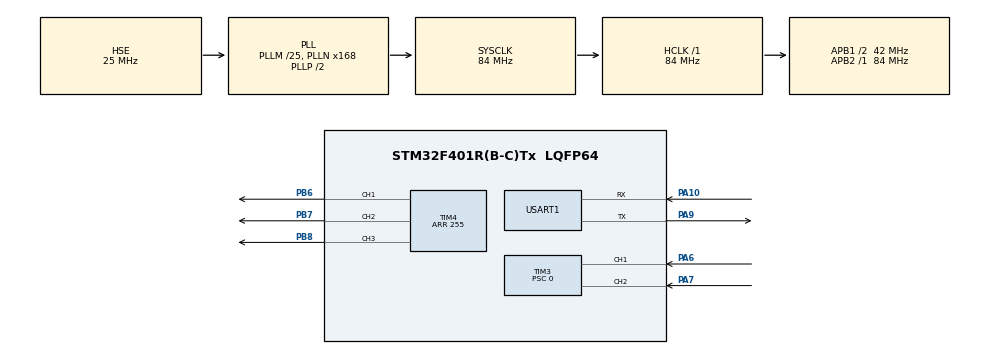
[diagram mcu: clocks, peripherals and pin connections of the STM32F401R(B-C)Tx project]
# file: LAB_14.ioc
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Mcu.Family=STM32F4
Mcu.Name=STM32F401R(B-C)Tx
Mcu.Package=LQFP64
NVIC.PriorityGroup=NVIC_PRIORITYGROUP_4
PA10.Mode=Asynchronous
PA10.Signal=USART1_RX
PA6.Signal=S_TIM3_CH1
PA7.Signal=S_TIM3_CH2
PA9.Mode=Asynchronous
PA9.Signal=USART1_TX
PB6.Signal=S_TIM4_CH1
PB7.Signal=S_TIM4_CH2
PB8.Signal=S_TIM4_CH3
PH0\ -\ OSC_IN.Mode=HSE-External-Oscillator
PH0\ -\ OSC_IN.Signal=RCC_OSC_IN
PH1\ -\ OSC_OUT.Mode=HSE-External-Oscillator
PH1\ -\ OSC_OUT.Signal=RCC_OSC_OUT
ProjectManager.HeapSize=0x200
ProjectManager.StackSize=0x400
ProjectManager.TargetToolchain=STM32CubeIDE
RCC.48MHZClocksFreq_Value=42000000
RCC.AHBFreq_Value=84000000
RCC.APB1CLKDivider=RCC_HCLK_DIV2
RCC.APB1Freq_Value=42000000
RCC.APB1TimFreq_Value=84000000
RCC.APB2Freq_Value=84000000
RCC.APB2TimFreq_Value=84000000
RCC.CortexFreq_Value=84000000
RCC.HCLKFreq_Value=84000000
RCC.HSE_VALUE=25000000
RCC.HSI_VALUE=16000000
RCC.LSE_VALUE=32768
RCC.PLLM=25
RCC.PLLN=168
RCC.PLLSourceVirtual=RCC_PLLSOURCE_HSE
RCC.SYSCLKFreq_VALUE=84000000
RCC.SYSCLKSource=RCC_SYSCLKSOURCE_PLLCLK
RCC.VCOOutputFreq_Value=168000000
SH.S_TIM3_CH1.0=TIM3_CH1,Encoder_Interface
SH.S_TIM3_CH2.0=TIM3_CH2,Encoder_Interface
SH.S_TIM4_CH1.0=TIM4_CH1,PWM Generation1 CH1
SH.S_TIM4_CH2.0=TIM4_CH2,PWM Generation2 CH2
SH.S_TIM4_CH3.0=TIM4_CH3,PWM Generation3 CH3
TIM3.AutoReloadPreload=TIM_AUTORELOAD_PRELOAD_ENABLE
TIM3.EncoderMode=TIM_ENCODERMODE_TI12
TIM3.IC1Filter=10
TIM3.IC2Filter=10
TIM3.Period=255
TIM3.Prescaler=0
TIM4.AutoReloadPreload=TIM_AUTORELOAD_PRELOAD_ENABLE
TIM4.Channel-PWM\ Generation1\ CH1=TIM_CHANNEL_1
TIM4.Channel-PWM\ Generation2\ CH2=TIM_CHANNEL_2
TIM4.Channel-PWM\ Generation3\ CH3=TIM_CHANNEL_3
TIM4.Period=255
USART1.VirtualMode=VM_ASYNC
VP_TIM4_VS_ClockSourceINT.Mode=Internal
board=custom

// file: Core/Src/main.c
/* USER CODE BEGIN Header */
/**
  ******************************************************************************
  * @file           : main.c
  * @brief          : Main program body
  ******************************************************************************
  * @attention
  *
  * Copyright (c) 2024 STMicroelectronics.
  * All rights reserved.
  *
  * This software is licensed under terms that can be found in the LICENSE file
  * in the root directory of this software component.
  * If no LICENSE file comes with this software, it is provided AS-IS.
  *
  ******************************************************************************
  */
/* USER CODE END Header */
#include "main.h"

/* USER CODE BEGIN Includes */
#include <stdio.h>
/* USER CODE END Includes */

TIM_HandleTypeDef htim3;
TIM_HandleTypeDef htim4;

UART_HandleTypeDef huart1;

void SystemClock_Config(void);
static void MX_GPIO_Init(void);
static void MX_TIM3_Init(void);
static void MX_TIM4_Init(void);
static void MX_USART1_UART_Init(void);

/* USER CODE BEGIN 0 */
int __io_putchar(int ch)
{
  static uint8_t cr = '\r';
  if (ch == '\n')
    HAL_UART_Transmit(&huart1, &cr, 1, 0xFFFF);
  HAL_UART_Transmit(&huart1, (uint8_t *)&ch, 1, 0xFFFF);
  return ch;
}
/* USER CODE END 0 */

int main(void)
{

  /* USER CODE BEGIN 1 */
  uint16_t LED_DutyCycle = 0;
  /* USER CODE END 1 */

  /* MCU Configuration--------------------------------------------------------*/

  /* Reset of all peripherals, Initializes the Flash interface and the Systick. */
  HAL_Init();

  /* Configure the system clock */
  SystemClock_Config();

  /* Initialize all configured peripherals */
  MX_GPIO_Init();
  MX_TIM3_Init();
  MX_TIM4_Init();
  MX_USART1_UART_Init();
  /* USER CODE BEGIN 2 */
  TIM3->CNT = 128;
  TIM4->CNT = 128;
  HAL_TIM_Encoder_Start(&htim3, TIM_CHANNEL_ALL);
  HAL_TIM_PWM_Start(&htim4, TIM_CHANNEL_1);
  HAL_TIM_PWM_Start(&htim4, TIM_CHANNEL_2);
  HAL_TIM_PWM_Start(&htim4, TIM_CHANNEL_3);
  /* USER CODE END 2 */

  /* Infinite loop */
  /* USER CODE BEGIN WHILE */
  while (1)
  {
    printf("%lu\n", TIM3->CNT);
    LED_DutyCycle = TIM3->CNT;
    TIM4->CCR1 = LED_DutyCycle;
    TIM4->CCR2 = LED_DutyCycle;
    TIM4->CCR3 = LED_DutyCycle;
    HAL_Delay(250);
    /* USER CODE END WHILE */

  }
}

void SystemClock_Config(void)
{
  RCC_OscInitTypeDef RCC_OscInitStruct = {0};
  RCC_ClkInitTypeDef RCC_ClkInitStruct = {0};

  /** Configure the main internal regulator output voltage
  */
  __HAL_RCC_PWR_CLK_ENABLE();
  __HAL_PWR_VOLTAGESCALING_CONFIG(PWR_REGULATOR_VOLTAGE_SCALE2);

  /** Initializes the RCC Oscillators according to the specified parameters
  * in the RCC_OscInitTypeDef structure.
  */
  RCC_OscInitStruct.OscillatorType = RCC_OSCILLATORTYPE_HSE;
  RCC_OscInitStruct.HSEState = RCC_HSE_ON;
  RCC_OscInitStruct.PLL.PLLState = RCC_PLL_ON;
  RCC_OscInitStruct.PLL.PLLSource = RCC_PLLSOURCE_HSE;
  RCC_OscInitStruct.PLL.PLLM = 25;
  RCC_OscInitStruct.PLL.PLLN = 168;
  RCC_OscInitStruct.PLL.PLLP = RCC_PLLP_DIV2;
  RCC_OscInitStruct.PLL.PLLQ = 4;
  if (HAL_RCC_OscConfig(&RCC_OscInitStruct) != HAL_OK)
  {
    Error_Handler();
  }

  /** Initializes the CPU, AHB and APB buses clocks
  */
  RCC_ClkInitStruct.ClockType = RCC_CLOCKTYPE_HCLK|RCC_CLOCKTYPE_SYSCLK
                              |RCC_CLOCKTYPE_PCLK1|RCC_CLOCKTYPE_PCLK2;
  RCC_ClkInitStruct.SYSCLKSource = RCC_SYSCLKSOURCE_PLLCLK;
  RCC_ClkInitStruct.AHBCLKDivider = RCC_SYSCLK_DIV1;
  RCC_ClkInitStruct.APB1CLKDivider = RCC_HCLK_DIV2;
  RCC_ClkInitStruct.APB2CLKDivider = RCC_HCLK_DIV1;

  if (HAL_RCC_ClockConfig(&RCC_ClkInitStruct, FLASH_LATENCY_2) != HAL_OK)
  {
    Error_Handler();
  }
}

static void MX_TIM3_Init(void)
{

  TIM_Encoder_InitTypeDef sConfig = {0};
  TIM_MasterConfigTypeDef sMasterConfig = {0};

  htim3.Instance = TIM3;
  htim3.Init.Prescaler = 0;
  htim3.Init.CounterMode = TIM_COUNTERMODE_UP;
  htim3.Init.Period = 255;
  htim3.Init.ClockDivision = TIM_CLOCKDIVISION_DIV1;
  htim3.Init.AutoReloadPreload = TIM_AUTORELOAD_PRELOAD_ENABLE;
  sConfig.EncoderMode = TIM_ENCODERMODE_TI12;
  sConfig.IC1Polarity = TIM_ICPOLARITY_RISING;
  sConfig.IC1Selection = TIM_ICSELECTION_DIRECTTI;
  sConfig.IC1Prescaler = TIM_ICPSC_DIV1;
  sConfig.IC1Filter = 10;
  sConfig.IC2Polarity = TIM_ICPOLARITY_RISING;
  sConfig.IC2Selection = TIM_ICSELECTION_DIRECTTI;
  sConfig.IC2Prescaler = TIM_ICPSC_DIV1;
  sConfig.IC2Filter = 10;
  if (HAL_TIM_Encoder_Init(&htim3, &sConfig) != HAL_OK)
  {
    Error_Handler();
  }
  sMasterConfig.MasterOutputTrigger = TIM_TRGO_RESET;
  sMasterConfig.MasterSlaveMode = TIM_MASTERSLAVEMODE_DISABLE;
  if (HAL_TIMEx_MasterConfigSynchronization(&htim3, &sMasterConfig) != HAL_OK)
  {
    Error_Handler();
  }

}

static void MX_TIM4_Init(void)
{

  TIM_ClockConfigTypeDef sClockSourceConfig = {0};
  TIM_MasterConfigTypeDef sMasterConfig = {0};
  TIM_OC_InitTypeDef sConfigOC = {0};

  htim4.Instance = TIM4;
  htim4.Init.Prescaler = 0;
  htim4.Init.CounterMode = TIM_COUNTERMODE_UP;
  htim4.Init.Period = 255;
  htim4.Init.ClockDivision = TIM_CLOCKDIVISION_DIV1;
  htim4.Init.AutoReloadPreload = TIM_AUTORELOAD_PRELOAD_ENABLE;
  if (HAL_TIM_Base_Init(&htim4) != HAL_OK)
  {
    Error_Handler();
  }
  sClockSourceConfig.ClockSource = TIM_CLOCKSOURCE_INTERNAL;
  if (HAL_TIM_ConfigClockSource(&htim4, &sClockSourceConfig) != HAL_OK)
  {
    Error_Handler();
  }
  if (HAL_TIM_PWM_Init(&htim4) != HAL_OK)
  {
    Error_Handler();
  }
  sMasterConfig.MasterOutputTrigger = TIM_TRGO_RESET;
  sMasterConfig.MasterSlaveMode = TIM_MASTERSLAVEMODE_DISABLE;
  if (HAL_TIMEx_MasterConfigSynchronization(&htim4, &sMasterConfig) != HAL_OK)
  {
    Error_Handler();
  }
  sConfigOC.OCMode = TIM_OCMODE_PWM1;
  sConfigOC.Pulse = 0;
  sConfigOC.OCPolarity = TIM_OCPOLARITY_HIGH;
  sConfigOC.OCFastMode = TIM_OCFAST_DISABLE;
  if (HAL_TIM_PWM_ConfigChannel(&htim4, &sConfigOC, TIM_CHANNEL_1) != HAL_OK)
  {
    Error_Handler();
  }
  if (HAL_TIM_PWM_ConfigChannel(&htim4, &sConfigOC, TIM_CHANNEL_2) != HAL_OK)
  {
    Error_Handler();
  }
  if (HAL_TIM_PWM_ConfigChannel(&htim4, &sConfigOC, TIM_CHANNEL_3) != HAL_OK)
  {
    Error_Handler();
  }
  HAL_TIM_MspPostInit(&htim4);

}

static void MX_USART1_UART_Init(void)
{

  huart1.Instance = USART1;
  huart1.Init.BaudRate = 115200;
  huart1.Init.WordLength = UART_WORDLENGTH_8B;
  huart1.Init.StopBits = UART_STOPBITS_1;
  huart1.Init.Parity = UART_PARITY_NONE;
  huart1.Init.Mode = UART_MODE_TX_RX;
  huart1.Init.HwFlowCtl = UART_HWCONTROL_NONE;
  huart1.Init.OverSampling = UART_OVERSAMPLING_16;
  if (HAL_UART_Init(&huart1) != HAL_OK)
  {
    Error_Handler();
  }

}

static void MX_GPIO_Init(void)
{

  /* GPIO Ports Clock Enable */
  __HAL_RCC_GPIOH_CLK_ENABLE();
  __HAL_RCC_GPIOA_CLK_ENABLE();
  __HAL_RCC_GPIOB_CLK_ENABLE();

}

void Error_Handler(void)
{
  __disable_irq();
  while (1)
  {
  }
}
